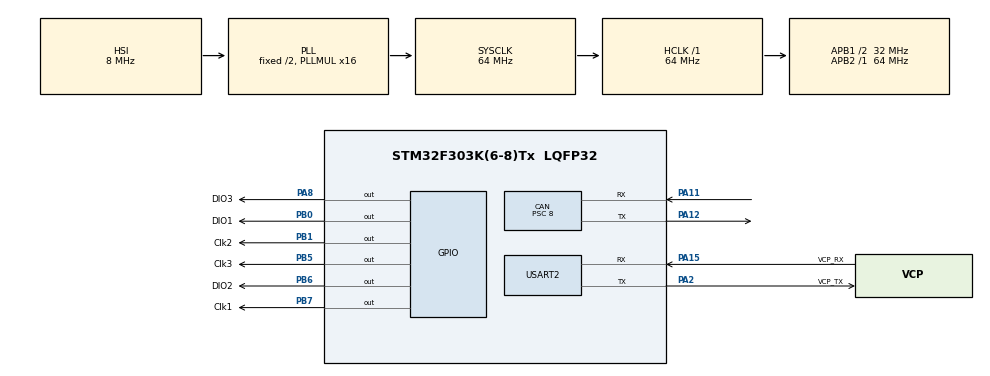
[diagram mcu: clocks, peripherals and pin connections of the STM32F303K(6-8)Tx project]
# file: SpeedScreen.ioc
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CAN.BS1=CAN_BS1_2TQ
CAN.BS2=CAN_BS2_1TQ
CAN.CalculateBaudRate=1000000
CAN.CalculateTimeBit=1000
CAN.CalculateTimeQuantum=250.0
CAN.Prescaler=8
Mcu.Family=STM32F3
Mcu.Name=STM32F303K(6-8)Tx
Mcu.Package=LQFP32
NVIC.CAN_RX0_IRQn=true\:0\:0\:false\:false\:true\:true\:true\:true
NVIC.CAN_RX1_IRQn=true\:0\:0\:false\:false\:true\:true\:true\:true
NVIC.CAN_SCE_IRQn=true\:0\:0\:false\:false\:true\:true\:true\:true
NVIC.CAN_TX_IRQn=true\:0\:0\:false\:false\:true\:true\:true\:true
NVIC.PriorityGroup=NVIC_PRIORITYGROUP_4
PA11.GPIO_PuPd=GPIO_PULLUP
PA11.Mode=CAN_Activate
PA11.Signal=CAN_RX
PA12.Mode=CAN_Activate
PA12.Signal=CAN_TX
PA15.GPIO_Label=VCP_RX
PA15.Mode=Asynchronous
PA15.Signal=USART2_RX
PA2.GPIO_Label=VCP_TX
PA2.Mode=Asynchronous
PA2.Signal=USART2_TX
PA8.GPIO_Label=DIO3
PA8.GPIO_Speed=GPIO_SPEED_FREQ_HIGH
PA8.Signal=GPIO_Output
PB0.GPIO_Label=DIO1
PB0.GPIO_Speed=GPIO_SPEED_FREQ_HIGH
PB0.Signal=GPIO_Output
PB1.GPIO_Label=Clk2
PB1.GPIO_Speed=GPIO_SPEED_FREQ_HIGH
PB1.Signal=GPIO_Output
PB5.GPIO_Label=Clk3
PB5.GPIO_Speed=GPIO_SPEED_FREQ_HIGH
PB5.Signal=GPIO_Output
PB6.GPIO_Label=DIO2
PB6.GPIO_Speed=GPIO_SPEED_FREQ_HIGH
PB6.Signal=GPIO_Output
PB7.GPIO_Label=Clk1
PB7.GPIO_Speed=GPIO_SPEED_FREQ_HIGH
PB7.Signal=GPIO_Output
ProjectManager.HeapSize=0x200
ProjectManager.StackSize=0x400
ProjectManager.TargetToolchain=STM32CubeIDE
RCC.AHBFreq_Value=64000000
RCC.APB1CLKDivider=RCC_HCLK_DIV2
RCC.APB1Freq_Value=32000000
RCC.APB1TimFreq_Value=64000000
RCC.APB2Freq_Value=64000000
RCC.APB2TimFreq_Value=64000000
RCC.CortexFreq_Value=64000000
RCC.HCLKFreq_Value=64000000
RCC.HSE_VALUE=8000000
RCC.HSI_VALUE=8000000
RCC.PLLMUL=RCC_PLL_MUL16
RCC.SYSCLKFreq_VALUE=64000000
RCC.SYSCLKSourceVirtual=RCC_SYSCLKSOURCE_PLLCLK
USART2.VirtualMode-Asynchronous=VM_ASYNC
board=NUCLEO-F303K8

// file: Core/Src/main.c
/* USER CODE BEGIN Header */
/**
  ******************************************************************************
  * @file           : main.c
  * @brief          : Main program body
  ******************************************************************************
  * @attention
  *
  * Copyright (c) 2025 STMicroelectronics.
  * All rights reserved.
  *
  * This software is licensed under terms that can be found in the LICENSE file
  * in the root directory of this software component.
  * If no LICENSE file comes with this software, it is provided AS-IS.
  *
  ******************************************************************************
  */
/* USER CODE END Header */
#include "main.h"

/* USER CODE BEGIN Includes */
#include <stdbool.h>

/* USER CODE END Includes */

CAN_HandleTypeDef hcan;

UART_HandleTypeDef huart2;

void SystemClock_Config(void);
static void MX_GPIO_Init(void);
static void MX_USART2_UART_Init(void);
static void MX_CAN_Init(void);

/* USER CODE BEGIN 0 */
CAN_RxHeaderTypeDef RxHeader;
uint8_t RxData[8];
uint32_t TxMailbox;
CAN_TxHeaderTypeDef TxHeader;
uint8_t TxData[8];
int messages[2] = {0x33, 0x37};
int motorMessage = false;
int motorSend = 0;
int PWM = 0;
int motorTemp = 0;
int contTemp = 0;
int RPM = 0;

int SOC = 99;
int highTherm = 99;
int packC = 99;
int ampHours = 99;
int packVS = 99;
int packVO = 99;

void HAL_CAN_RxFifo0MsgPendingCallback(CAN_HandleTypeDef *hcan)
{
	HAL_CAN_GetRxMessage(hcan, CAN_RX_FIFO0, &RxHeader, RxData);
	switch(RxHeader.StdId)
	{
		case 0x114:
			//failsafes = RxData[0];
			//DTC1 = RxData[1];
			//DTC2 = RxData[2];
			highTherm = RxData[3];
			break;
		case 0x115:
			packC = RxData[0]/10;
			ampHours = RxData[1]/10;
			packVS = RxData[2]/100;
			packVO = RxData[3]/10;
			SOC = RxData[4]/2;
			break;
		case 0x73:
			switch (motorMessage)
			{
				case 0x33:
					PWM = RxData[0];
					motorTemp = RxData[2] + 80;
					contTemp = RxData[3];
					break;
				case 0x37:
					RPM = RxData[0] * 256;
					RPM += RxData[1];
					/*RPM *= 60;//to per hour
					RPM *= 2 * 3.141592653589 * 18.17;//to inches
					RPM/=12;//to feet
					RPM/=5280;//to miles*/

					RPM *= 0.1081112472;//combined into one step
					break;

			}
			motorMessage = 0;

	}
}

void motorRead(int data)
{
	for(int i = 0; i < 20 && motorMessage != 0; i++) HAL_Delay(25);
	motorMessage = data;

	TxHeader.DLC = 1;
	TxData[0] = 0x37;
	TxHeader.RTR = CAN_RTR_DATA;
	TxHeader.StdId = 0x6B; // ID

	HAL_CAN_AddTxMessage(&hcan, &TxHeader, TxData, &TxMailbox);
}

uint8_t segments[10] =
{
		0b00111111,
		0b00000110,
		0b01011011,
		0b01001111,
		0b01100110,
		0b01101101,
		0b01111101,
		0b00000111,
		0b01111111,
		0b01100111
};

int Dpins[3] = {DIO1_Pin, DIO2_Pin, DIO3_Pin};
int Cpins[3] = {Clk1_Pin, Clk2_Pin, Clk3_Pin};
GPIO_TypeDef* DGroup[3] = {GPIOB, GPIOB, GPIOA};
GPIO_TypeDef* CGroup[3] = {GPIOB, GPIOB, GPIOB};

void delay_us (int time)
{
	for (int i = 0; i < time; i++)
	{
		for (int j = 0; j < 6; j++)
		{
			__asm__("nop");
		}
	}
}

void data(int set, int pin)
{
	HAL_GPIO_WritePin(DGroup[pin], Dpins[pin], set);
}

void clock(int set, int pin)
{
	HAL_GPIO_WritePin(CGroup[pin], Cpins[pin], set);
}

void start (int pin)
{
	clock(1, pin);
	data(1, pin);
	delay_us (2);
	data(0, pin);
}

void stop (int pin)
{
	clock(0, pin);
	delay_us (2);
	data(0, pin);
	delay_us (2);
	clock(1, pin);
	delay_us (2);
	data(1, pin);
}

void ack(int pin)
{
	clock(0, pin);
	delay_us(5);
	clock(1, pin);
	delay_us(2);
	clock(0, pin);
}

void dispByte(uint8_t d, int pin)
{
	for(int i = 0; i < 8; i++)
	{
		clock(0, pin);
		data(d%2, pin);
		delay_us(3);
		d = d >> 1;
		clock(1, pin);
		delay_us(3);
	}
	ack(pin);
}

void brightness(int pin)
{
	start(pin);
	dispByte(0x8A, pin);
	stop(pin);
}

void dispData(int index, uint8_t* d, int size, int pin)
{
	start(pin);
	dispByte(0x40, pin);
	stop(pin);

	start(pin);
	dispByte(192 + index, pin);
	for(int i = 0; i < size; i++) dispByte(d[i], pin);
	stop(pin);
	brightness(pin);
}

void dispNumber(int index, int rIndex, int n, int pin, int size, int colon)
{
	if(size == 0) for(int i = n; i > 0; i/=10) size++;

	uint8_t data[size];
	for(int i = size - 1; i >= 0; i--)
	{
		data[i] = segments[n%10];
		n/=10;
		if(colon != 0 && data[i] < 128) data[i] += 128;
	}

	if(rIndex != 0) index -= size - 1;

	dispData(index, data, size, pin);
}
/* USER CODE END 0 */

int main(void)
{

  /* MCU Configuration--------------------------------------------------------*/

  /* Reset of all peripherals, Initializes the Flash interface and the Systick. */
  HAL_Init();

  /* Configure the system clock */
  SystemClock_Config();

  /* Initialize all configured peripherals */
  MX_GPIO_Init();
  MX_USART2_UART_Init();
  MX_CAN_Init();
  /* USER CODE BEGIN 2 */
  HAL_CAN_Start(&hcan);
  HAL_CAN_ActivateNotification(&hcan, CAN_IT_RX_FIFO0_MSG_PENDING);
  HAL_Delay(30);
  /* USER CODE END 2 */

  /* Infinite loop */
  while (1)
  {

    /* USER CODE BEGIN 3 */
	  motorRead(messages[motorSend]);
	  motorSend++;
	  motorSend %= 2;

	  dispNumber(3, 1, RPM, 0, 2, 1);
	  dispNumber(0, 0, SOC, 0, 2, 1);
	  dispNumber(3, 1, motorTemp%100, 1, 2, 1);
	  dispNumber(0, 0, highTherm%100, 1, 2, 1);
	  dispNumber(3, 1, ampHours, 2, 2, 0);
	  dispNumber(0, 0, motorSend, 2, 2, 1);
  }
  /* USER CODE END 3 */
}

void SystemClock_Config(void)
{
  RCC_OscInitTypeDef RCC_OscInitStruct = {0};
  RCC_ClkInitTypeDef RCC_ClkInitStruct = {0};

  /** Initializes the RCC Oscillators according to the specified parameters
  * in the RCC_OscInitTypeDef structure.
  */
  RCC_OscInitStruct.OscillatorType = RCC_OSCILLATORTYPE_HSI;
  RCC_OscInitStruct.HSIState = RCC_HSI_ON;
  RCC_OscInitStruct.HSICalibrationValue = RCC_HSICALIBRATION_DEFAULT;
  RCC_OscInitStruct.PLL.PLLState = RCC_PLL_ON;
  RCC_OscInitStruct.PLL.PLLSource = RCC_PLLSOURCE_HSI;
  RCC_OscInitStruct.PLL.PLLMUL = RCC_PLL_MUL16;
  if (HAL_RCC_OscConfig(&RCC_OscInitStruct) != HAL_OK)
  {
    Error_Handler();
  }

  /** Initializes the CPU, AHB and APB buses clocks
  */
  RCC_ClkInitStruct.ClockType = RCC_CLOCKTYPE_HCLK|RCC_CLOCKTYPE_SYSCLK
                              |RCC_CLOCKTYPE_PCLK1|RCC_CLOCKTYPE_PCLK2;
  RCC_ClkInitStruct.SYSCLKSource = RCC_SYSCLKSOURCE_PLLCLK;
  RCC_ClkInitStruct.AHBCLKDivider = RCC_SYSCLK_DIV1;
  RCC_ClkInitStruct.APB1CLKDivider = RCC_HCLK_DIV2;
  RCC_ClkInitStruct.APB2CLKDivider = RCC_HCLK_DIV1;

  if (HAL_RCC_ClockConfig(&RCC_ClkInitStruct, FLASH_LATENCY_2) != HAL_OK)
  {
    Error_Handler();
  }
}

static void MX_CAN_Init(void)
{

  hcan.Instance = CAN;
  hcan.Init.Prescaler = 8;
  hcan.Init.Mode = CAN_MODE_NORMAL;
  hcan.Init.SyncJumpWidth = CAN_SJW_1TQ;
  hcan.Init.TimeSeg1 = CAN_BS1_2TQ;
  hcan.Init.TimeSeg2 = CAN_BS2_1TQ;
  hcan.Init.TimeTriggeredMode = DISABLE;
  hcan.Init.AutoBusOff = DISABLE;
  hcan.Init.AutoWakeUp = DISABLE;
  hcan.Init.AutoRetransmission = DISABLE;
  hcan.Init.ReceiveFifoLocked = DISABLE;
  hcan.Init.TransmitFifoPriority = DISABLE;
  if (HAL_CAN_Init(&hcan) != HAL_OK)
  {
    Error_Handler();
  }
  /* USER CODE BEGIN CAN_Init 2 */
  CAN_FilterTypeDef canfilterconfig;

   canfilterconfig.FilterActivation = CAN_FILTER_ENABLE;
   canfilterconfig.FilterBank = 10;  // which filter bank to use from the assigned ones
   canfilterconfig.FilterFIFOAssignment = CAN_FILTER_FIFO0;
   canfilterconfig.FilterIdHigh = 0b10000<<5;
   canfilterconfig.FilterIdLow = 0;
   canfilterconfig.FilterMaskIdHigh = 0b10000<<5;
   canfilterconfig.FilterMaskIdLow = 0x0000;
   canfilterconfig.FilterMode = CAN_FILTERMODE_IDMASK;
   canfilterconfig.FilterScale = CAN_FILTERSCALE_32BIT;
   canfilterconfig.SlaveStartFilterBank = 0;  // how many filters to assign to the CAN1 (master can)

   HAL_CAN_ConfigFilter(&hcan, &canfilterconfig);

  /* USER CODE END CAN_Init 2 */

}

static void MX_USART2_UART_Init(void)
{

  huart2.Instance = USART2;
  huart2.Init.BaudRate = 38400;
  huart2.Init.WordLength = UART_WORDLENGTH_8B;
  huart2.Init.StopBits = UART_STOPBITS_1;
  huart2.Init.Parity = UART_PARITY_NONE;
  huart2.Init.Mode = UART_MODE_TX_RX;
  huart2.Init.HwFlowCtl = UART_HWCONTROL_NONE;
  huart2.Init.OverSampling = UART_OVERSAMPLING_16;
  huart2.Init.OneBitSampling = UART_ONE_BIT_SAMPLE_DISABLE;
  huart2.AdvancedInit.AdvFeatureInit = UART_ADVFEATURE_NO_INIT;
  if (HAL_UART_Init(&huart2) != HAL_OK)
  {
    Error_Handler();
  }

}

static void MX_GPIO_Init(void)
{
  GPIO_InitTypeDef GPIO_InitStruct = {0};

  /* GPIO Ports Clock Enable */
  __HAL_RCC_GPIOA_CLK_ENABLE();
  __HAL_RCC_GPIOB_CLK_ENABLE();

  /*Configure GPIO pin Output Level */
  HAL_GPIO_WritePin(GPIOB, DIO1_Pin|Clk2_Pin|Clk3_Pin|DIO2_Pin
                          |Clk1_Pin, GPIO_PIN_RESET);

  /*Configure GPIO pin Output Level */
  HAL_GPIO_WritePin(DIO3_GPIO_Port, DIO3_Pin, GPIO_PIN_RESET);

  /*Configure GPIO pins : DIO1_Pin Clk2_Pin Clk3_Pin DIO2_Pin
                           Clk1_Pin */
  GPIO_InitStruct.Pin = DIO1_Pin|Clk2_Pin|Clk3_Pin|DIO2_Pin
                          |Clk1_Pin;
  GPIO_InitStruct.Mode = GPIO_MODE_OUTPUT_PP;
  GPIO_InitStruct.Pull = GPIO_NOPULL;
  GPIO_InitStruct.Speed = GPIO_SPEED_FREQ_HIGH;
  HAL_GPIO_Init(GPIOB, &GPIO_InitStruct);

  /*Configure GPIO pin : DIO3_Pin */
  GPIO_InitStruct.Pin = DIO3_Pin;
  GPIO_InitStruct.Mode = GPIO_MODE_OUTPUT_PP;
  GPIO_InitStruct.Pull = GPIO_NOPULL;
  GPIO_InitStruct.Speed = GPIO_SPEED_FREQ_HIGH;
  HAL_GPIO_Init(DIO3_GPIO_Port, &GPIO_InitStruct);

}

void Error_Handler(void)
{
  __disable_irq();
  while (1)
  {
  }
}
